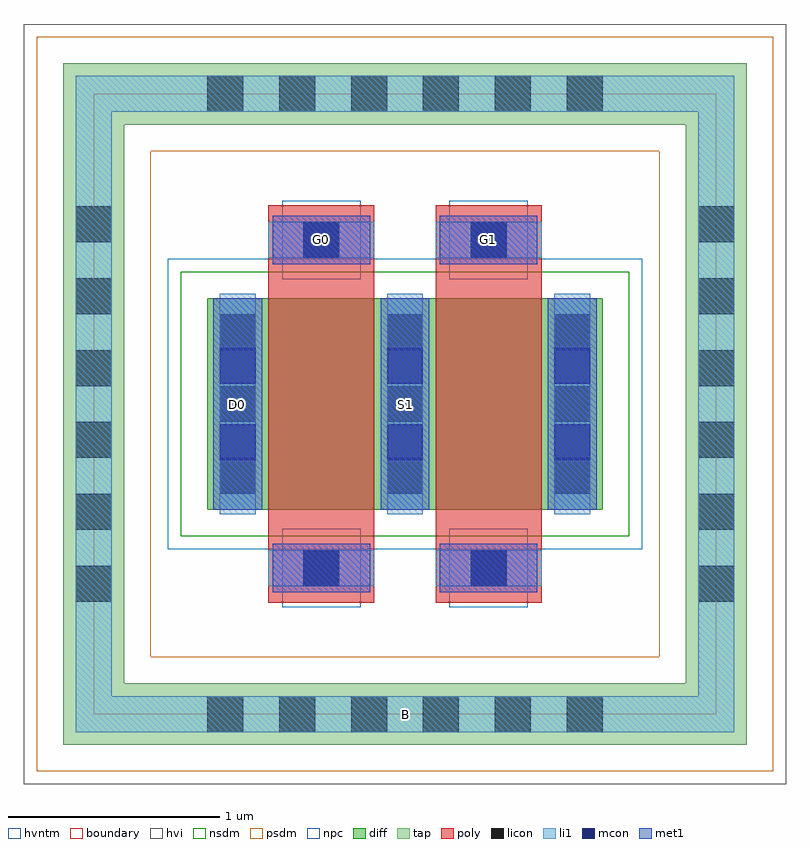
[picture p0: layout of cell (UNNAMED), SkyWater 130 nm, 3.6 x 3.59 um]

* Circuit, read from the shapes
.subckt (UNNAMED) B D0 G0 G1 S1
XM1 S1 G0 D0 B sky130_fd_pr__nfet_g5v0d10v5 w=1 l=0.5
XM2 n1 G1 S1 B sky130_fd_pr__nfet_g5v0d10v5 w=1 l=0.5
.ends

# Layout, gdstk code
import gdstk
lib = gdstk.Library(unit=1e-6, precision=1e-09)
def R(c, l, rs):  # rectangles x0, y0, x1, y1
    for r in rs: c.add(gdstk.rectangle(r[:2], r[2:], *l))
def A(c, l, x, y, w, h, nx, ny, dx, dy):  # array of equal rectangles
    R(c, l, [(x+i*dx, y+j*dy, x+i*dx+w, y+j*dy+h) for i in range(nx) for j in range(ny)])
diff = (65, 20)
tap = (65, 44)
poly = (66, 20)
licon = (66, 44)
li1 = (67, 20)
mcon = (67, 44)
met1 = (68, 20)
hvi = (75, 20)
nsdm = (93, 44)
psdm = (94, 20)
npc = (95, 20)
hvntm = (125, 20)
boundary = (235, 4)

c__unnamed_ = lib.new_cell('(UNNAMED)')
R(c__unnamed_, diff, [(-0.935,-0.5,0.935,0.5)])
R(c__unnamed_, tap, [(-1.615,-1.61,1.615,-1.32), (-1.615,-1.32,-1.325,1.32), (1.325,-1.32,1.615,1.32), (-1.615,1.32,1.615,1.61)])
R(c__unnamed_, poly, [(-0.645,-0.94,-0.145,0.94), (0.145,-0.94,0.645,0.94)])
A(c__unnamed_, licon, -0.935, -1.55, 0.17, 0.17, 6, 2, 0.34, 2.93)
A(c__unnamed_, licon, -1.555, -0.935, 0.17, 0.17, 1, 6, 0, 0.34)
A(c__unnamed_, licon, 1.385, -0.935, 0.17, 0.17, 1, 6, 0, 0.34)
A(c__unnamed_, licon, -0.875, -0.425, 0.17, 0.17, 3, 3, 0.79, 0.34)
R(c__unnamed_, licon, [(-0.48,-0.86,-0.31,-0.69), (0.31,-0.86,0.48,-0.69), (-0.48,0.69,-0.31,0.86), (0.31,0.69,0.48,0.86)])
A(c__unnamed_, li1, -0.875, -0.52, 0.17, 1.04, 3, 1, 0.79, 0)
R(c__unnamed_, li1, [(-1.555,-1.55,1.555,-1.38), (-1.555,-1.38,-1.385,1.38), (1.385,-1.38,1.555,1.38), (-0.645,-0.86,-0.145,-0.69), (0.145,-0.86,0.645,-0.69), (-0.645,0.69,-0.145,0.86), (0.145,0.69,0.645,0.86), (-1.555,1.38,1.555,1.55)])
A(c__unnamed_, mcon, -0.875, -0.265, 0.17, 0.17, 3, 2, 0.79, 0.36)
R(c__unnamed_, mcon, [(-0.48,-0.86,-0.31,-0.69), (0.31,-0.86,0.48,-0.69), (-0.48,0.69,-0.31,0.86), (0.31,0.69,0.48,0.86)])
A(c__unnamed_, met1, -0.905, -0.5, 0.23, 1, 3, 1, 0.79, 0)
R(c__unnamed_, met1, [(-0.625,-0.89,-0.165,-0.66), (0.165,-0.89,0.625,-0.66), (-0.625,0.66,-0.165,0.89), (0.165,0.66,0.625,0.89)])
R(c__unnamed_, hvi, [(-1.8,-1.795,1.8,1.795)])
R(c__unnamed_, nsdm, [(-1.06,-0.625,1.06,0.625)])
R(c__unnamed_, psdm, [(-1.74,-1.735,1.74,-1.195), (-1.74,-1.195,-1.2,1.195), (1.2,-1.195,1.74,1.195), (-1.74,1.195,1.74,1.735)])
R(c__unnamed_, npc, [(-0.58,-0.96,-0.21,-0.59), (0.21,-0.96,0.58,-0.59), (-0.58,0.59,-0.21,0.96), (0.21,0.59,0.58,0.96)])
R(c__unnamed_, hvntm, [(-1.12,-0.685,1.12,0.685)])
R(c__unnamed_, boundary, [(-1.47,-1.465,1.47,1.465)])
c__unnamed_.add(gdstk.Label('B', (0,-1.465), layer=67, texttype=5))
c__unnamed_.add(gdstk.Label('D0', (-0.79,0), layer=67, texttype=5))
c__unnamed_.add(gdstk.Label('G0', (-0.395,0.775), layer=67, texttype=5))
c__unnamed_.add(gdstk.Label('S1', (0,0), layer=67, texttype=5))
c__unnamed_.add(gdstk.Label('G1', (0.395,0.775), layer=67, texttype=5))

lib.write_gds('_UNNAMED_.gds')
